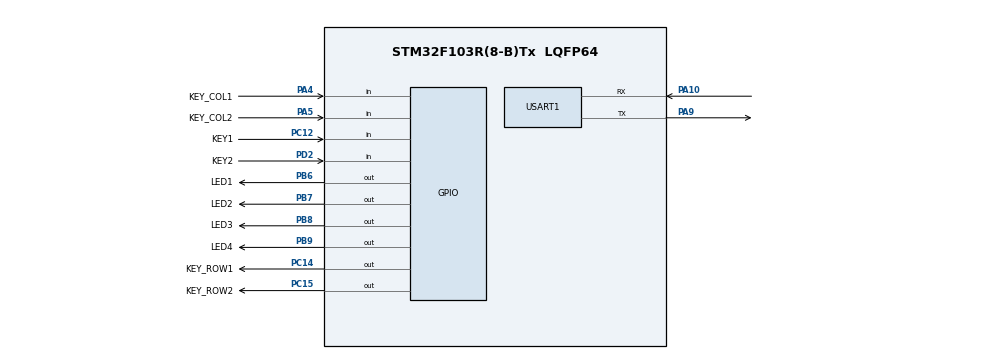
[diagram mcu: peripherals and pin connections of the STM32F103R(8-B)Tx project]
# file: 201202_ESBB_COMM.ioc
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Mcu.Family=STM32F1
Mcu.Name=STM32F103R(8-B)Tx
Mcu.Package=LQFP64
NVIC.PriorityGroup=NVIC_PRIORITYGROUP_4
NVIC.TIM1_UP_IRQn=true\:0\:0\:false\:false\:true\:true\:true
NVIC.USART1_IRQn=true\:0\:0\:false\:false\:true\:true\:true
PA10.Mode=Asynchronous
PA10.Signal=USART1_RX
PA13.Mode=Serial_Wire
PA13.Signal=SYS_JTMS-SWDIO
PA14.Mode=Serial_Wire
PA14.Signal=SYS_JTCK-SWCLK
PA4.GPIO_Label=KEY_COL1
PA4.Signal=GPIO_Input
PA5.GPIO_Label=KEY_COL2
PA5.Signal=GPIO_Input
PA9.Mode=Asynchronous
PA9.Signal=USART1_TX
PB6.GPIO_Label=LED1
PB6.Signal=GPIO_Output
PB7.GPIO_Label=LED2
PB7.Signal=GPIO_Output
PB8.GPIO_Label=LED3
PB8.Signal=GPIO_Output
PB9.GPIO_Label=LED4
PB9.Signal=GPIO_Output
PC12.GPIO_Label=KEY1
PC12.Signal=GPIO_Input
PC14-OSC32_IN.GPIO_Label=KEY_ROW1
PC14-OSC32_IN.Signal=GPIO_Output
PC15-OSC32_OUT.GPIO_Label=KEY_ROW2
PC15-OSC32_OUT.Signal=GPIO_Output
PD2.GPIO_Label=KEY2
PD2.Signal=GPIO_Input
ProjectManager.HeapSize=0x200
ProjectManager.StackSize=0x400
ProjectManager.TargetToolchain=TrueSTUDIO
RCC.APB1Freq_Value=8000000
RCC.APB2Freq_Value=8000000
TIM1.AutoReloadPreload=TIM_AUTORELOAD_PRELOAD_ENABLE
TIM1.Period=1000-1
TIM1.Prescaler=8-1
USART1.VirtualMode=VM_ASYNC
VP_TIM1_VS_ClockSourceINT.Mode=Internal
board=custom

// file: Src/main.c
/* USER CODE BEGIN Header */
/**
  ******************************************************************************
  * @file           : main.c
  * @brief          : Main program body
  ******************************************************************************
  * @attention
  *
  * <h2><center>&copy; Copyright (c) 2020 STMicroelectronics.
  * All rights reserved.</center></h2>
  *
  * This software component is licensed by ST under BSD 3-Clause license,
  * the "License"; You may not use this file except in compliance with the
  * License. You may obtain a copy of the License at:
  *                        opensource.org/licenses/BSD-3-Clause
  *
  ******************************************************************************
  */
/* USER CODE END Header */

#include "main.h"
#include "tim.h"
#include "usart.h"
#include "gpio.h"

/* USER CODE BEGIN Includes */
#include <stdio.h>

#include "comm.h"
#include "key.h"
#include "led.h"
#include "tmr.h"
/* USER CODE END Includes */

void SystemClock_Config(void);

/* USER CODE BEGIN 0 */
//volatile uint KeyScanFlag = RESET;
uint KeyScanFlag = RESET;
uint8_t RxData;

int _write(int file, char *ptr, int len)
{
  for(int i = 0; i < len; i++)
  {
    while(LL_USART_IsActiveFlag_TXE(USART1) == RESET)
    {
      //We can put some timeout here
    }
    LL_USART_TransmitData8(USART1, *(ptr+i));
  }
  return len;
}

void HAL_TIM_PeriodElapsedCallback(TIM_HandleTypeDef *htim)
{

    volatile static uint32_t Tick1m = 0;

    Tick1m++;

    if( (Tick1m % 10) == 0 )
    //if( (Tick1m % 100) == 0 )
    {
        //HAL_GPIO_TogglePin(LED2_GPIO_Port, LED2_Pin);
        KeyScanFlag = SET;
    }

    TmrTask(TmrTbl);

}
#if 0
void HAL_UART_RxCpltCallback(UART_HandleTypeDef *huart)
{

    //HAL_UART_Transmit(&huart1, &RxData, sizeof(RxData), 0xFFFFFFFF);

    CommPutRxChar(&CommBuf, RxData);
    HAL_UART_Receive_IT(&huart1, &RxData, sizeof(RxData));

}
#endif
/* USER CODE END 0 */

int main(void)
{
  /* USER CODE BEGIN 1 */
    uint8_t key;

    KEY stKey;
    uint8_t data;
  /* USER CODE END 1 */

  /* MCU Configuration--------------------------------------------------------*/

  /* Reset of all peripherals, Initializes the Flash interface and the Systick. */
  HAL_Init();

  /* Configure the system clock */
  SystemClock_Config();

  /* Initialize all configured peripherals */
  MX_GPIO_Init();
  MX_TIM1_Init();
  MX_USART1_UART_Init();
  /* USER CODE BEGIN 2 */
  HAL_TIM_Base_Start_IT(&htim1);
  KeyInit(&stKey);

  TmrInit(TmrTbl);

  TmrSetT(TmrTbl, 0, 1000);
  TmrCfgFnct(TmrTbl, 0, OffLed, NULL);
  TmrStart(TmrTbl, 0);

  //HAL_UART_Receive_IT(&huart1, &RxData, sizeof(RxData));    // USART Rx interrupt enable
  LL_USART_EnableIT_RXNE(USART1);

  CommInit(&CommBuf);
  /* USER CODE END 2 */

  /* Infinite loop */
  while (1)
  {

    /* USER CODE BEGIN 3 */
#if 0
      HAL_GPIO_TogglePin(LED1_GPIO_Port, LED1_Pin);
      printf("Key scan module test \r\n");
      HAL_Delay(250);
#endif
      ////////// Critical section start //////////
      //__disable_irq();
      __HAL_TIM_DISABLE_IT(&htim1, TIM_IT_UPDATE);
      if(KeyScanFlag == SET)
      {
          KeyScanFlag = RESET;
          // Do KeyScanTask()
          //HAL_GPIO_TogglePin(LED3_GPIO_Port, LED3_Pin);
          KeyScanTask(&stKey);
      }
      //__enable_irq();
      __HAL_TIM_ENABLE_IT(&htim1, TIM_IT_UPDATE);
      ////////// Critical section end //////////

      if( KeyHit(&stKey) )
      {
          key = KeyGetKey(&stKey);
          printf("KEY : %d \r\n", key);

          HAL_GPIO_TogglePin(LED4_GPIO_Port, LED4_Pin);
      }

      while( CommIsEmpty(&CommBuf) == FALSE)
      {
          data = CommGetRxChar(&CommBuf);

          //HAL_UART_Transmit(&huart1, &data, sizeof(data), 0xFFFFFFFF);

          /////////// Need to timeout condition ///////////
          USART1->DR = data;
          while(!(USART1->SR & USART_SR_TXE));
          /////////////////////////////////////////////////
      }
      //HAL_Delay(5);

  }
  /* USER CODE END 3 */
}

void SystemClock_Config(void)
{
  RCC_OscInitTypeDef RCC_OscInitStruct = {0};
  RCC_ClkInitTypeDef RCC_ClkInitStruct = {0};

  /** Initializes the CPU, AHB and APB busses clocks
  */
  RCC_OscInitStruct.OscillatorType = RCC_OSCILLATORTYPE_HSI;
  RCC_OscInitStruct.HSIState = RCC_HSI_ON;
  RCC_OscInitStruct.HSICalibrationValue = RCC_HSICALIBRATION_DEFAULT;
  RCC_OscInitStruct.PLL.PLLState = RCC_PLL_NONE;
  if (HAL_RCC_OscConfig(&RCC_OscInitStruct) != HAL_OK)
  {
    Error_Handler();
  }
  /** Initializes the CPU, AHB and APB busses clocks
  */
  RCC_ClkInitStruct.ClockType = RCC_CLOCKTYPE_HCLK|RCC_CLOCKTYPE_SYSCLK
                              |RCC_CLOCKTYPE_PCLK1|RCC_CLOCKTYPE_PCLK2;
  RCC_ClkInitStruct.SYSCLKSource = RCC_SYSCLKSOURCE_HSI;
  RCC_ClkInitStruct.AHBCLKDivider = RCC_SYSCLK_DIV1;
  RCC_ClkInitStruct.APB1CLKDivider = RCC_HCLK_DIV1;
  RCC_ClkInitStruct.APB2CLKDivider = RCC_HCLK_DIV1;

  if (HAL_RCC_ClockConfig(&RCC_ClkInitStruct, FLASH_LATENCY_0) != HAL_OK)
  {
    Error_Handler();
  }
}

void Error_Handler(void)
{
}

/************************ (C) COPYRIGHT STMicroelectronics *****END OF FILE****/
